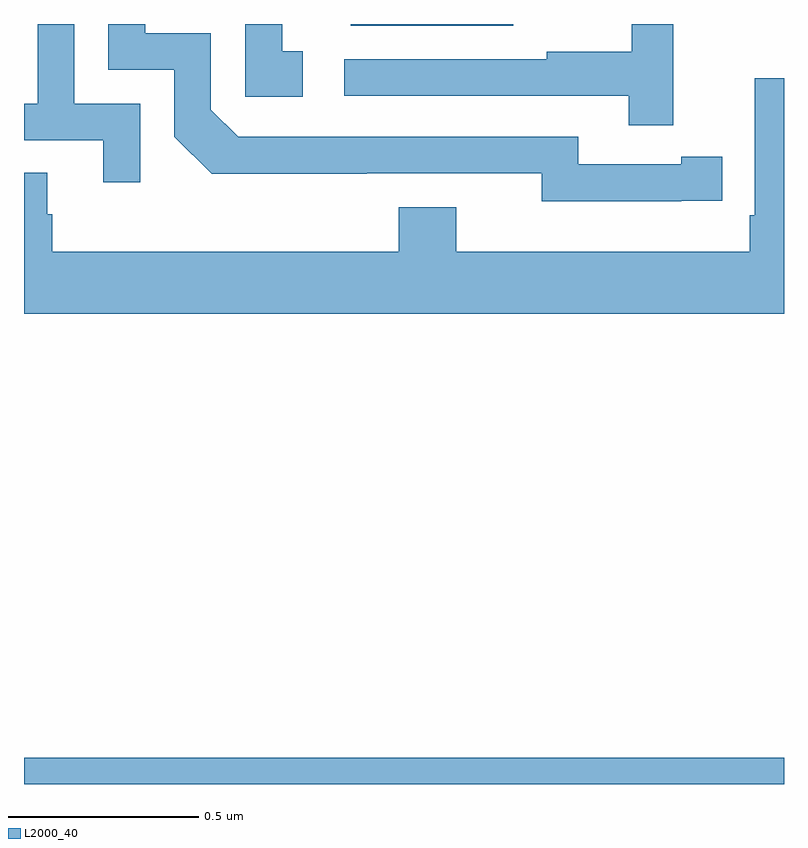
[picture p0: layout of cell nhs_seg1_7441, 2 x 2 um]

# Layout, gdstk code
import gdstk
lib = gdstk.Library(unit=1e-6, precision=1e-09)
def R(c, l, rs):  # rectangles x0, y0, x1, y1
    for r in rs: c.add(gdstk.rectangle(r[:2], r[2:], *l))
def P(c, l, *ps):  # polygons
    for p in ps: c.add(gdstk.Polygon(p, *l))
L2000_40 = (2000, 40)

nhs_seg1_7441 = lib.new_cell('nhs_seg1_7441')
R(nhs_seg1_7441, L2000_40, [(204,513.199,206,513.268), (204.86,515.195,205.288,515.199)])
P(nhs_seg1_7441, L2000_40, [(205.73,514.734),(205.838,514.734),(205.838,514.85),(205.73,514.85),(205.73,514.83),(205.458,514.83),(205.458,514.902),(204.564,514.902),(204.492,514.974),(204.492,515.175),(204.319,515.175),(204.319,515.199),(204.222,515.199),(204.222,515.079),(204.396,515.079),(204.396,514.902),(204.494,514.805),(204.902,514.805),(204.902,514.806),(205.362,514.806),(205.362,514.733),(205.73,514.733)],
  [(205.709,515.199),(205.599,515.199),(205.599,515.126),(205.375,515.126),(205.375,515.106),(204.843,515.106),(204.843,515.01),(205.591,515.01),(205.591,514.932),(205.709,514.932)],
  [(204.306,514.989),(204.132,514.989),(204.132,515.199),(204.036,515.199),(204.036,514.989),(204,514.989),(204,514.893),(204.209,514.893),(204.209,514.782),(204.306,514.782)],
  [(204.733,515.127),(204.68,515.127),(204.68,515.199),(204.582,515.199),(204.582,515.007),(204.733,515.007)],
  [(206,515.056),(205.923,515.056),(205.923,514.696),(205.91,514.696),(205.91,514.6),(205.138,514.6),(205.138,514.717),(204.986,514.717),(204.986,514.6),(204.074,514.6),(204.074,514.698),(204.061,514.698),(204.061,514.808),(204,514.808),(204,514.436),(206,514.436)])

lib.write_gds('nhs_seg1_7441.gds')
